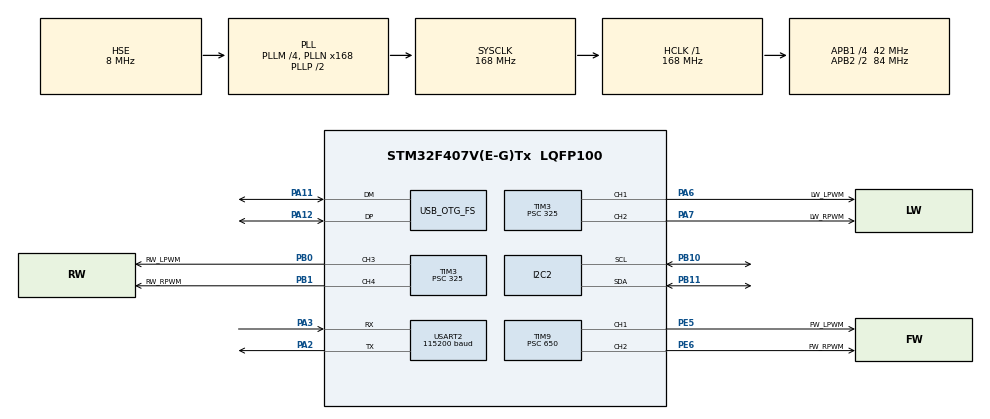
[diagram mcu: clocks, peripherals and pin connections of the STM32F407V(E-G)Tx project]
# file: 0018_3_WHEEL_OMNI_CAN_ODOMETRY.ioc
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USART2.BaudRate=115200
USART2.VirtualMode-Asynchronous=VM_ASYNC
Mcu.Family=STM32F4
Mcu.Name=STM32F407V(E-G)Tx
Mcu.Package=LQFP100
NVIC.USART2_IRQn=true\:0\:0\:false\:false\:true\:true\:true\:true
NVIC.OTG_FS_IRQn=true\:0\:0\:false\:false\:true\:false\:true\:true
NVIC.PriorityGroup=NVIC_PRIORITYGROUP_0
NVIC.TIM5_IRQn=true\:0\:0\:false\:false\:true\:true\:true\:true
PA11.Mode=Device_Only
PA11.Signal=USB_OTG_FS_DM
PA12.Mode=Device_Only
PA12.Signal=USB_OTG_FS_DP
PA13.Mode=Serial_Wire
PA13.Signal=SYS_JTMS-SWDIO
PA14.Mode=Serial_Wire
PA14.Signal=SYS_JTCK-SWCLK
PA6.GPIO_Label=LW_LPWM
PA6.Signal=S_TIM3_CH1
PA7.GPIO_Label=LW_RPWM
PA7.Signal=S_TIM3_CH2
PB0.GPIO_Label=RW_LPWM
PB0.Signal=S_TIM3_CH3
PB1.GPIO_Label=RW_RPWM
PB1.Signal=S_TIM3_CH4
PB10.GPIO_Pu=GPIO_PULLUP
PB10.Mode=I2C
PB10.Signal=I2C2_SCL
PB11.GPIO_Pu=GPIO_PULLUP
PB11.Mode=I2C
PB11.Signal=I2C2_SDA
PA2.Mode=Asynchronous
PA2.Signal=USART2_TX
PA3.Mode=Asynchronous
PA3.Signal=USART2_RX
PC14-OSC32_IN.Mode=LSE-External-Oscillator
PC14-OSC32_IN.Signal=RCC_OSC32_IN
PC15-OSC32_OUT.Mode=LSE-External-Oscillator
PC15-OSC32_OUT.Signal=RCC_OSC32_OUT
PE5.GPIO_Label=FW_LPWM
PE5.Signal=S_TIM9_CH1
PE6.GPIO_Label=FW_RPWM
PE6.Signal=S_TIM9_CH2
PH0-OSC_IN.Mode=HSE-External-Oscillator
PH0-OSC_IN.Signal=RCC_OSC_IN
PH1-OSC_OUT.Mode=HSE-External-Oscillator
PH1-OSC_OUT.Signal=RCC_OSC_OUT
ProjectManager.HeapSize=0x200
ProjectManager.StackSize=0x400
ProjectManager.TargetToolchain=STM32CubeIDE
RCC.48MHZClocksFreq_Value=48000000
RCC.AHBFreq_Value=168000000
RCC.APB1CLKDivider=RCC_HCLK_DIV4
RCC.APB1Freq_Value=42000000
RCC.APB1TimFreq_Value=84000000
RCC.APB2CLKDivider=RCC_HCLK_DIV2
RCC.APB2Freq_Value=84000000
RCC.APB2TimFreq_Value=168000000
RCC.CortexFreq_Value=168000000
RCC.HCLKFreq_Value=168000000
RCC.HSE_VALUE=8000000
RCC.HSI_VALUE=16000000
RCC.PLLM=4
RCC.PLLN=168
RCC.PLLQ=7
RCC.SYSCLKFreq_VALUE=168000000
RCC.SYSCLKSource=RCC_SYSCLKSOURCE_PLLCLK
RCC.VCOOutputFreq_Value=336000000
SH.S_TIM3_CH1.0=TIM3_CH1,PWM Generation1 CH1
SH.S_TIM3_CH2.0=TIM3_CH2,PWM Generation2 CH2
SH.S_TIM3_CH3.0=TIM3_CH3,PWM Generation3 CH3
SH.S_TIM3_CH4.0=TIM3_CH4,PWM Generation4 CH4
SH.S_TIM9_CH1.0=TIM9_CH1,PWM Generation1 CH1
SH.S_TIM9_CH2.0=TIM9_CH2,PWM Generation2 CH2
TIM3.Channel-PWM\ Generation1\ CH1=TIM_CHANNEL_1
TIM3.Channel-PWM\ Generation2\ CH2=TIM_CHANNEL_2
TIM3.Channel-PWM\ Generation3\ CH3=TIM_CHANNEL_3
TIM3.Channel-PWM\ Generation4\ CH4=TIM_CHANNEL_4
TIM3.Period=255
TIM3.Prescaler=325
TIM5.Period=100-1
TIM5.Prescaler=8400-1
TIM9.Channel-PWM\ Generation1\ CH1=TIM_CHANNEL_1
TIM9.Channel-PWM\ Generation2\ CH2=TIM_CHANNEL_2
TIM9.Period=255
TIM9.Prescaler=650
USB_DEVICE.CLASS_NAME_FS=CDC
USB_DEVICE.VirtualMode-CDC_FS=Cdc
USB_DEVICE.VirtualModeFS=Cdc_FS
USB_OTG_FS.VirtualMode=Device_Only
VP_TIM3_VS_ClockSourceINT.Mode=Internal
VP_TIM5_VS_ClockSourceINT.Mode=Internal
VP_TIM9_VS_ClockSourceINT.Mode=Internal
VP_USB_DEVICE_VS_USB_DEVICE_CDC_FS.Mode=CDC_FS
board=STM32F407G-DISC1

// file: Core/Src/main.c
/* USER CODE BEGIN Header */
/**
 ******************************************************************************
 * @file           : main.c
 * @brief          : Main program body
 ******************************************************************************
 * @attention
 *
 * Copyright (c) 2026 STMicroelectronics.
 * All rights reserved.
 *
 * This software is licensed under terms that can be found in the LICENSE file
 * in the root directory of this software component.
 * If no LICENSE file comes with this software, it is provided AS-IS.
 *
 ******************************************************************************
 */
/* USER CODE END Header */
#include "main.h"
#include "usb_device.h"
#include "usbd_cdc_if.h"

/* USER CODE BEGIN Includes */
#include<stdlib.h>
#include<stdio.h>
#include<stdbool.h>
#include<stdint.h>
#include<string.h>
#include<math.h>
/* USER CODE END Includes */

/* USER CODE BEGIN PD */

// ===================== BNO055 CONFIG =====================
#define BNO055_ADDR        (0x28 << 1)
#define BNO055_REG_OPR     0x3D
#define BNO055_REG_PWR     0x3E
#define BNO055_REG_EUL     0x1A

#define BNO055_MODE_CONFIG 0x00
#define BNO055_MODE_NDOF   0x0C
#define BNO055_PWR_NORMAL  0x00

// ===================== IMU_TICK STATE =====================
static uint8_t IMU_TICK_BUFFER[6];
volatile bool IMU_TICK = false;
float IMU_TICK_HEADING = 0.0f;
bool imuInitialized = false;

// ===================== COMMUNICATION AND CONTROL =====================
char msg[64];

// ===================== MOTOR CONTROL =====================
#define FW_LPWM 1
#define FW_RPWM 2

#define LW_LPWM 1
#define LW_RPWM 2

#define RW_LPWM 3
#define RW_RPWM 4

typedef struct{
    TIM_TypeDef *TIMx;
    uint32_t channelLPWM;
    uint32_t channelRPWM;
    int16_t maxPWM;
} Motor_t;

Motor_t motorFW;
Motor_t motorLW;
Motor_t motorRW;

// ===================== UART CONTROL INPUT =====================
#define UART_LINE_CAPACITY 64
static uint8_t uartRxByte;
static char uartRxLine[UART_LINE_CAPACITY];
static char uartCommandLine[UART_LINE_CAPACITY];
static volatile uint8_t uartRxLength;
static volatile bool uartCommandReady;
static volatile float controllerValue;
static volatile uint32_t lastUartCommandTick;

// ===================== CONSTANTS =====================
#define wheelRadius       0.075
#define length       	  1
#define MAX_PWM           60
#define DEADZONE     	  35
#define dt           	  0.001

// ===================== KINEMATICS CONSTANTS =====================
#define PI 				  3.14159265358979323846
#define oneBy2F 		  0.5
#define sqrtThreeby2F	  0.8660254037844386

typedef struct{
    // PS4 Input
    float Vx;
    float Vy;
    float Omega;

    // Global Control
    float VxG;
    float VyG;

    // Heading Control
    float currentAngle;
    float targetAngle;
    float correctionAngle;

    // Output
    int16_t wFW;
    int16_t wLW;
    int16_t wRW;

} RobotControl_t;
RobotControl_t Robot;

// ===================== PID CONTROL VARS=====================
typedef struct{
    float kp;
    float ki;
    float kd;

    float previousError;
    float integral;

    uint32_t previousTime;

} PID_t;
PID_t OmegaPID = {
    .kp = 2.5f,
    .ki = 0.0f,
    .kd = 0.5f,
    .previousError = 0.0f,
    .integral = 0.0f,
    .previousTime = 0
};

/* USER CODE END PD */

UART_HandleTypeDef huart2;
I2C_HandleTypeDef hi2c2;

TIM_HandleTypeDef htim3;
TIM_HandleTypeDef htim5;
TIM_HandleTypeDef htim9;

void SystemClock_Config(void);
static void MX_GPIO_Init(void);
static void MX_USART2_UART_Init(void);
static void MX_TIM3_Init(void);
static void MX_TIM9_Init(void);
static void MX_TIM5_Init(void);
static void MX_I2C2_Init(void);

/* USER CODE BEGIN 0 */
// ===================== FUNCTIONS DECLARATIONS=====================
float degree2radian(float angle);
float radian2degree(float angle);
float constrain(float num, float min, float max);

void BNO055_Init(void);
static float NormalizeAngle(float angle);
void IMUTicKUpdate(void);
static void processUartCommand(void);

void MotorSet(Motor_t *motor, int16_t speed);
void MotorInit(Motor_t *motor,	TIM_TypeDef *TIMx, uint32_t channelLeft, uint32_t channelRight,	int16_t maxPWM);
void KinematicsControl(RobotControl_t *robot);
void KinematicsDrive(RobotControl_t *robot);

void RobotUpdateAngle(RobotControl_t *robot);
float PIDCompute(PID_t *pid, float error);
void PIDReset(PID_t *pid);

// ===================== FUNCTIONS DEFINITIONS=====================
float degree2radian(float angle) {
	return angle * (PI / 180.0f);
}

float radian2degree(float angle) {
	return angle * (180.0f / PI);
}

float constrain(float num, float min, float max) {

	if (num > max) {
		return max;
	}

	else if (num < min) {
		return min;
	}

	else {
		return num;
	}
}

void BNO055_Init(void){
    uint8_t mode;

    // Go to CONFIG mode
    mode = BNO055_MODE_CONFIG;
    HAL_I2C_Mem_Write(&hi2c2, BNO055_ADDR,	BNO055_REG_OPR, I2C_MEMADD_SIZE_8BIT, &mode, sizeof(mode), HAL_MAX_DELAY);

    HAL_Delay(20);

    // Set power mode
    mode = BNO055_PWR_NORMAL;
    HAL_I2C_Mem_Write(&hi2c2, BNO055_ADDR,	BNO055_REG_PWR, I2C_MEMADD_SIZE_8BIT, &mode, sizeof(mode), HAL_MAX_DELAY);

    HAL_Delay(10);

    // Switch to NDOF mode
    mode = BNO055_MODE_NDOF;
    HAL_I2C_Mem_Write(&hi2c2, BNO055_ADDR,	BNO055_REG_OPR, I2C_MEMADD_SIZE_8BIT, &mode, sizeof(mode), HAL_MAX_DELAY);

    HAL_Delay(20);
}

static float NormalizeAngle(float angle){
    if (angle > 180.0f)  angle -= 360.0f;
    if (angle < -180.0f) angle += 360.0f;
    return angle;
}

void IMUTicKUpdate(void){
	HAL_StatusTypeDef BNO_Status = HAL_I2C_Mem_Read(&hi2c2, BNO055_ADDR, BNO055_REG_EUL, I2C_MEMADD_SIZE_8BIT,	IMU_TICK_BUFFER, sizeof(IMU_TICK_BUFFER), HAL_MAX_DELAY);
    if ( BNO_Status == HAL_OK){
        int16_t raw_heading = (int16_t)((IMU_TICK_BUFFER[1] << 8) | IMU_TICK_BUFFER[0]);
        IMU_TICK_HEADING = -NormalizeAngle(raw_heading / 16.0f);
    }
}

static void processUartCommand(void) {
    char line[UART_LINE_CAPACITY];
    float x, y, z, controller;

    __disable_irq();
    if (!uartCommandReady) {
        __enable_irq();
        return;
    }
    memcpy(line, uartCommandLine, sizeof(line));
    uartCommandReady = false;
    __enable_irq();

    if (sscanf(line, "%f,%f,%f,%f", &x, &y, &z, &controller) == 4) {
        Robot.Vx = constrain(x, -100.0f, 100.0f);
        Robot.Vy = constrain(y, -100.0f, 100.0f);
        Robot.Omega = constrain(z * 0.5f, -50.0f, 50.0f);
        controllerValue = controller;
        lastUartCommandTick = HAL_GetTick();
        if (fabsf(Robot.Vx) < DEADZONE) Robot.Vx = 0;
        if (fabsf(Robot.Vy) < DEADZONE) Robot.Vy = 0;
        if (fabsf(Robot.Omega) < DEADZONE) Robot.Omega = 0;
    }
}

void HAL_UART_RxCpltCallback(UART_HandleTypeDef *huart) {
    if (huart->Instance != USART2) return;

    if (uartRxByte == '\n' || uartRxByte == '\r') {
        if (uartRxLength > 0 && !uartCommandReady) {
            uartRxLine[uartRxLength] = '\0';
            memcpy(uartCommandLine, uartRxLine, uartRxLength + 1);
            uartCommandReady = true;
        }
        uartRxLength = 0;
    } else if (uartRxLength < UART_LINE_CAPACITY - 1) {
        uartRxLine[uartRxLength++] = (char)uartRxByte;
    } else {
        uartRxLength = 0;
    }
    HAL_UART_Receive_IT(&huart2, &uartRxByte, 1);
}

// ===================== CUSTOM FUNCTIONS =====================

// ===================== MOTOR CONTROL =====================
void MotorInit(Motor_t *motor,	TIM_TypeDef *TIMx, uint32_t channelLeft, uint32_t channelRight,	int16_t maxPWM){
    motor->TIMx = TIMx;
    motor->channelLPWM = channelLeft;
    motor->channelRPWM = channelRight;
    motor->maxPWM = maxPWM;
}

void MotorSet(Motor_t *motor, int16_t speed){
    if (speed > motor->maxPWM)						speed = motor->maxPWM;
    else if (speed < -motor->maxPWM)				speed = -motor->maxPWM;

    volatile uint32_t *ccrLPWM = &motor->TIMx->CCR1 + (motor->channelLPWM - 1);
    volatile uint32_t *ccrRPWM = &motor->TIMx->CCR1 + (motor->channelRPWM - 1);

    if (speed >= 0){
        *ccrRPWM = speed;
        *ccrLPWM = 0;
    } else{
        *ccrRPWM = 0;
        *ccrLPWM = -speed;
    }
}

void KinematicsControl(RobotControl_t *robot){

	double theta = degree2radian(robot->currentAngle);
	robot->VxG = ( robot->Vx) * cosf(theta) + (robot->Vy) * sinf(theta);
	robot->VyG = (-robot->Vx) * sinf(theta) + (robot->Vy) * cosf(theta);

	robot->wLW = (int16_t)((-robot->VxG * oneBy2F) - (robot->VyG * sqrtThreeby2F) + (robot->Omega));				//LEFT
	robot->wRW = (int16_t)((-robot->VxG * oneBy2F) + (robot->VyG * sqrtThreeby2F) + (robot->Omega));				//RIGHT
	robot->wFW = (int16_t)(( robot->VxG ) + (robot->Omega));														//FRONT

	robot->wLW = constrain(robot->wLW, -MAX_PWM, MAX_PWM);
	robot->wRW = constrain(robot->wRW, -MAX_PWM, MAX_PWM);
	robot->wFW = constrain(robot->wFW, -MAX_PWM, MAX_PWM);

}

void KinematicsDrive(RobotControl_t *robot){
	MotorSet(&motorLW, robot->wLW);
	MotorSet(&motorRW, robot->wRW);
    MotorSet(&motorFW, robot->wFW);
}

// ===================== PID CONTROL =====================
void RobotUpdateAngle(RobotControl_t *robot){
    robot->currentAngle = IMU_TICK_HEADING;
}

float PIDCompute(PID_t *pid, float error){
    uint32_t currentTime = HAL_GetTick();
    float deltaT = (currentTime - pid->previousTime) / 1000.0f;

    if (deltaT <= 0.0f)		deltaT = 0.001f;

    pid->integral += error * deltaT;
    pid->integral = constrain(pid->integral, -50.0f, 50.0f);

    float proportional = error;
    float derivative = (error - pid->previousError) / deltaT;
    float integral = pid->integral;

    float PID = (pid->kp * proportional ) + (pid->kd * derivative) + (pid->ki * integral);
    PID = constrain(PID, -MAX_PWM, MAX_PWM);

    pid->previousError  = error;
    pid->previousTime   = currentTime;

    return PID;
}

void PIDReset(PID_t *pid){
    pid->integral = 0.0f;
    pid->previousError = 0.0f;
    pid->previousTime = HAL_GetTick();
}

// =====================  FUNCTIONS =====================

/* USER CODE END 0 */

int main(void)
{

  /* MCU Configuration--------------------------------------------------------*/

  /* Reset of all peripherals, Initializes the Flash interface and the Systick. */
  HAL_Init();

  /* Configure the system clock */
  SystemClock_Config();

  /* Initialize all configured peripherals */
  MX_GPIO_Init();
  MX_USART2_UART_Init();
  MX_USB_DEVICE_Init();
  MX_TIM3_Init();
  MX_TIM9_Init();
  MX_TIM5_Init();
  MX_I2C2_Init();
  /* USER CODE BEGIN 2 */

	HAL_TIM_Base_Start_IT(&htim5);
	HAL_TIM_PWM_Start(&htim9, TIM_CHANNEL_1);
	HAL_TIM_PWM_Start(&htim9, TIM_CHANNEL_2);
	HAL_TIM_PWM_Start(&htim3, TIM_CHANNEL_3);
	HAL_TIM_PWM_Start(&htim3, TIM_CHANNEL_4);
	HAL_TIM_PWM_Start(&htim3, TIM_CHANNEL_1);
	HAL_TIM_PWM_Start(&htim3, TIM_CHANNEL_2);
	BNO055_Init();

	HAL_UART_Receive_IT(&huart2, &uartRxByte, 1);

	// ===================== MOTOR CONFIGURATIONS =====================
	MotorInit(&motorFW, TIM9, FW_LPWM, FW_RPWM, MAX_PWM);
	MotorInit(&motorLW, TIM3, LW_LPWM, LW_RPWM, MAX_PWM);
	MotorInit(&motorRW, TIM3, RW_LPWM, RW_RPWM, MAX_PWM);

	// ===================== PID CONFIGURATIONS =====================
	OmegaPID.previousTime = HAL_GetTick();
	Robot.targetAngle = NormalizeAngle(IMU_TICK_HEADING);

  /* USER CODE END 2 */

  /* Infinite loop */
	while (1) {

    /* USER CODE BEGIN 3 */

//      CDC_Transmit_FS(msg, sizeof(msg));

		processUartCommand();
		if ((HAL_GetTick() - lastUartCommandTick) > 300U) {
			Robot.Vx = 0;
			Robot.Vy = 0;
			Robot.Omega = 0;
		}

		if (IMU_TICK) {
		    IMUTicKUpdate();
		    Robot.currentAngle = IMU_TICK_HEADING;

		    if (!imuInitialized) {
		        Robot.targetAngle = Robot.currentAngle;
		        OmegaPID.previousTime = HAL_GetTick();
		        imuInitialized = true;
		    }
		    IMU_TICK = false;
		}

		// CONTROL
		if (fabsf(Robot.Omega) < 5.0f) {
		    float error = NormalizeAngle(Robot.currentAngle - Robot.targetAngle);

		    if (fabsf(error) < 2.0f) {
		        Robot.Omega = 0;
		    } else {
		        Robot.Omega = -PIDCompute(&OmegaPID, error);
		    }
		} else {
		    Robot.targetAngle = Robot.currentAngle;
		    PIDReset(&OmegaPID);
		}

		KinematicsControl(&Robot);
		KinematicsDrive(&Robot);

		int len = sprintf(msg, "Angle: %.2f, Controller: %.2f\r\n",
				Robot.currentAngle, controllerValue);
		CDC_Transmit_FS((uint8_t*)msg, len);

		//HAL_Delay(5);

	}
  /* USER CODE END 3 */
}

void SystemClock_Config(void)
{
  RCC_OscInitTypeDef RCC_OscInitStruct = {0};
  RCC_ClkInitTypeDef RCC_ClkInitStruct = {0};

  /** Configure the main internal regulator output voltage
  */
  __HAL_RCC_PWR_CLK_ENABLE();
  __HAL_PWR_VOLTAGESCALING_CONFIG(PWR_REGULATOR_VOLTAGE_SCALE1);

  /** Initializes the RCC Oscillators according to the specified parameters
  * in the RCC_OscInitTypeDef structure.
  */
  RCC_OscInitStruct.OscillatorType = RCC_OSCILLATORTYPE_HSE;
  RCC_OscInitStruct.HSEState = RCC_HSE_ON;
  RCC_OscInitStruct.PLL.PLLState = RCC_PLL_ON;
  RCC_OscInitStruct.PLL.PLLSource = RCC_PLLSOURCE_HSE;
  RCC_OscInitStruct.PLL.PLLM = 4;
  RCC_OscInitStruct.PLL.PLLN = 168;
  RCC_OscInitStruct.PLL.PLLP = RCC_PLLP_DIV2;
  RCC_OscInitStruct.PLL.PLLQ = 7;
  if (HAL_RCC_OscConfig(&RCC_OscInitStruct) != HAL_OK)
  {
    Error_Handler();
  }

  /** Initializes the CPU, AHB and APB buses clocks
  */
  RCC_ClkInitStruct.ClockType = RCC_CLOCKTYPE_HCLK|RCC_CLOCKTYPE_SYSCLK
                              |RCC_CLOCKTYPE_PCLK1|RCC_CLOCKTYPE_PCLK2;
  RCC_ClkInitStruct.SYSCLKSource = RCC_SYSCLKSOURCE_PLLCLK;
  RCC_ClkInitStruct.AHBCLKDivider = RCC_SYSCLK_DIV1;
  RCC_ClkInitStruct.APB1CLKDivider = RCC_HCLK_DIV4;
  RCC_ClkInitStruct.APB2CLKDivider = RCC_HCLK_DIV2;

  if (HAL_RCC_ClockConfig(&RCC_ClkInitStruct, FLASH_LATENCY_5) != HAL_OK)
  {
    Error_Handler();
  }
}

static void MX_USART2_UART_Init(void)
{
  huart2.Instance = USART2;
  huart2.Init.BaudRate = 115200;
  huart2.Init.WordLength = UART_WORDLENGTH_8B;
  huart2.Init.StopBits = UART_STOPBITS_1;
  huart2.Init.Parity = UART_PARITY_NONE;
  huart2.Init.Mode = UART_MODE_TX_RX;
  huart2.Init.HwFlowCtl = UART_HWCONTROL_NONE;
  huart2.Init.OverSampling = UART_OVERSAMPLING_16;
  if (HAL_UART_Init(&huart2) != HAL_OK)
  {
    Error_Handler();
  }
}

static void MX_I2C2_Init(void)
{

  hi2c2.Instance = I2C2;
  hi2c2.Init.ClockSpeed = 100000;
  hi2c2.Init.DutyCycle = I2C_DUTYCYCLE_2;
  hi2c2.Init.OwnAddress1 = 0;
  hi2c2.Init.AddressingMode = I2C_ADDRESSINGMODE_7BIT;
  hi2c2.Init.DualAddressMode = I2C_DUALADDRESS_DISABLE;
  hi2c2.Init.OwnAddress2 = 0;
  hi2c2.Init.GeneralCallMode = I2C_GENERALCALL_DISABLE;
  hi2c2.Init.NoStretchMode = I2C_NOSTRETCH_DISABLE;
  if (HAL_I2C_Init(&hi2c2) != HAL_OK)
  {
    Error_Handler();
  }

}

static void MX_TIM3_Init(void)
{

  TIM_ClockConfigTypeDef sClockSourceConfig = {0};
  TIM_MasterConfigTypeDef sMasterConfig = {0};
  TIM_OC_InitTypeDef sConfigOC = {0};

  htim3.Instance = TIM3;
  htim3.Init.Prescaler = 325;
  htim3.Init.CounterMode = TIM_COUNTERMODE_UP;
  htim3.Init.Period = 255;
  htim3.Init.ClockDivision = TIM_CLOCKDIVISION_DIV1;
  htim3.Init.AutoReloadPreload = TIM_AUTORELOAD_PRELOAD_DISABLE;
  if (HAL_TIM_Base_Init(&htim3) != HAL_OK)
  {
    Error_Handler();
  }
  sClockSourceConfig.ClockSource = TIM_CLOCKSOURCE_INTERNAL;
  if (HAL_TIM_ConfigClockSource(&htim3, &sClockSourceConfig) != HAL_OK)
  {
    Error_Handler();
  }
  if (HAL_TIM_PWM_Init(&htim3) != HAL_OK)
  {
    Error_Handler();
  }
  sMasterConfig.MasterOutputTrigger = TIM_TRGO_RESET;
  sMasterConfig.MasterSlaveMode = TIM_MASTERSLAVEMODE_DISABLE;
  if (HAL_TIMEx_MasterConfigSynchronization(&htim3, &sMasterConfig) != HAL_OK)
  {
    Error_Handler();
  }
  sConfigOC.OCMode = TIM_OCMODE_PWM1;
  sConfigOC.Pulse = 0;
  sConfigOC.OCPolarity = TIM_OCPOLARITY_HIGH;
  sConfigOC.OCFastMode = TIM_OCFAST_DISABLE;
  if (HAL_TIM_PWM_ConfigChannel(&htim3, &sConfigOC, TIM_CHANNEL_1) != HAL_OK)
  {
    Error_Handler();
  }
  if (HAL_TIM_PWM_ConfigChannel(&htim3, &sConfigOC, TIM_CHANNEL_2) != HAL_OK)
  {
    Error_Handler();
  }
  if (HAL_TIM_PWM_ConfigChannel(&htim3, &sConfigOC, TIM_CHANNEL_3) != HAL_OK)
  {
    Error_Handler();
  }
  if (HAL_TIM_PWM_ConfigChannel(&htim3, &sConfigOC, TIM_CHANNEL_4) != HAL_OK)
  {
    Error_Handler();
  }
  HAL_TIM_MspPostInit(&htim3);

}

static void MX_TIM5_Init(void)
{

  TIM_ClockConfigTypeDef sClockSourceConfig = {0};
  TIM_MasterConfigTypeDef sMasterConfig = {0};

  htim5.Instance = TIM5;
  htim5.Init.Prescaler = 8400-1;
  htim5.Init.CounterMode = TIM_COUNTERMODE_UP;
  htim5.Init.Period = 100-1;
  htim5.Init.ClockDivision = TIM_CLOCKDIVISION_DIV1;
  htim5.Init.AutoReloadPreload = TIM_AUTORELOAD_PRELOAD_DISABLE;
  if (HAL_TIM_Base_Init(&htim5) != HAL_OK)
  {
    Error_Handler();
  }
  sClockSourceConfig.ClockSource = TIM_CLOCKSOURCE_INTERNAL;
  if (HAL_TIM_ConfigClockSource(&htim5, &sClockSourceConfig) != HAL_OK)
  {
    Error_Handler();
  }
  sMasterConfig.MasterOutputTrigger = TIM_TRGO_RESET;
  sMasterConfig.MasterSlaveMode = TIM_MASTERSLAVEMODE_DISABLE;
  if (HAL_TIMEx_MasterConfigSynchronization(&htim5, &sMasterConfig) != HAL_OK)
  {
    Error_Handler();
  }

}

static void MX_TIM9_Init(void)
{

  TIM_ClockConfigTypeDef sClockSourceConfig = {0};
  TIM_OC_InitTypeDef sConfigOC = {0};

  htim9.Instance = TIM9;
  htim9.Init.Prescaler = 650;
  htim9.Init.CounterMode = TIM_COUNTERMODE_UP;
  htim9.Init.Period = 255;
  htim9.Init.ClockDivision = TIM_CLOCKDIVISION_DIV1;
  htim9.Init.AutoReloadPreload = TIM_AUTORELOAD_PRELOAD_DISABLE;
  if (HAL_TIM_Base_Init(&htim9) != HAL_OK)
  {
    Error_Handler();
  }
  sClockSourceConfig.ClockSource = TIM_CLOCKSOURCE_INTERNAL;
  if (HAL_TIM_ConfigClockSource(&htim9, &sClockSourceConfig) != HAL_OK)
  {
    Error_Handler();
  }
  if (HAL_TIM_PWM_Init(&htim9) != HAL_OK)
  {
    Error_Handler();
  }
  sConfigOC.OCMode = TIM_OCMODE_PWM1;
  sConfigOC.Pulse = 0;
  sConfigOC.OCPolarity = TIM_OCPOLARITY_HIGH;
  sConfigOC.OCFastMode = TIM_OCFAST_DISABLE;
  if (HAL_TIM_PWM_ConfigChannel(&htim9, &sConfigOC, TIM_CHANNEL_1) != HAL_OK)
  {
    Error_Handler();
  }
  if (HAL_TIM_PWM_ConfigChannel(&htim9, &sConfigOC, TIM_CHANNEL_2) != HAL_OK)
  {
    Error_Handler();
  }
  HAL_TIM_MspPostInit(&htim9);

}

static void MX_GPIO_Init(void)
{

  /* GPIO Ports Clock Enable */
  __HAL_RCC_GPIOE_CLK_ENABLE();
  __HAL_RCC_GPIOC_CLK_ENABLE();
  __HAL_RCC_GPIOH_CLK_ENABLE();
  __HAL_RCC_GPIOA_CLK_ENABLE();
  __HAL_RCC_GPIOB_CLK_ENABLE();

}

/* USER CODE BEGIN 4 */

void HAL_TIM_PeriodElapsedCallback(TIM_HandleTypeDef *htim) {
	/* Prevent unused argument(s) compilation warning */
	UNUSED(htim);
	/* NOTE : This function should not be modified, when the callback is needed,
	 the HAL_TIM_PeriodElapsedCallback could be implemented in the user file
	 */
	if (htim->Instance == TIM5) {
		IMU_TICK = true;
	}
}

/* USER CODE END 4 */

void Error_Handler(void)
{
	__disable_irq();
	while (1) {
	}
}
